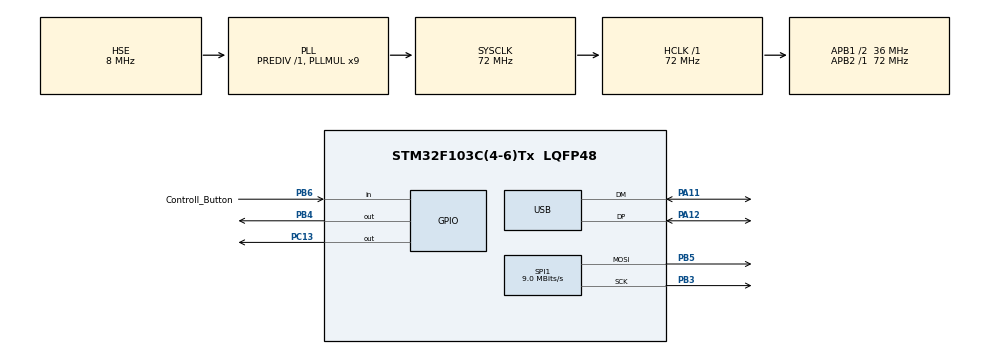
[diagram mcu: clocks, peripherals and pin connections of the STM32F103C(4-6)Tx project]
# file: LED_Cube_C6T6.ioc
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Mcu.Family=STM32F1
Mcu.Name=STM32F103C(4-6)Tx
Mcu.Package=LQFP48
NVIC.PriorityGroup=NVIC_PRIORITYGROUP_4
NVIC.TIM1_UP_IRQn=true\:0\:0\:false\:false\:true\:false\:true\:true
NVIC.TIM2_IRQn=true\:0\:0\:false\:false\:true\:true\:true\:true
NVIC.TimeBase=TIM1_UP_IRQn
NVIC.TimeBaseIP=TIM1
NVIC.USB_LP_CAN1_RX0_IRQn=true\:0\:0\:false\:false\:true\:false\:true\:true
PA11.Mode=Device
PA11.Signal=USB_DM
PA12.Mode=Device
PA12.Signal=USB_DP
PA13.Mode=Serial_Wire
PA13.Signal=SYS_JTMS-SWDIO
PA14.Mode=Serial_Wire
PA14.Signal=SYS_JTCK-SWCLK
PB3.Mode=TX_Only_Simplex_Unidirect_Master
PB3.Signal=SPI1_SCK
PB4.Signal=GPIO_Output
PB5.Mode=TX_Only_Simplex_Unidirect_Master
PB5.Signal=SPI1_MOSI
PB6.GPIO_Label=Controll_Button
PB6.GPIO_PuPd=GPIO_PULLDOWN
PB6.Signal=GPIO_Input
PC13-TAMPER-RTC.Signal=GPIO_Output
PD0-OSC_IN.Mode=HSE-External-Oscillator
PD0-OSC_IN.Signal=RCC_OSC_IN
PD1-OSC_OUT.Mode=HSE-External-Oscillator
PD1-OSC_OUT.Signal=RCC_OSC_OUT
ProjectManager.HeapSize=0x200
ProjectManager.StackSize=0x400
ProjectManager.TargetToolchain=STM32CubeIDE
RCC.AHBFreq_Value=72000000
RCC.APB1CLKDivider=RCC_HCLK_DIV2
RCC.APB1Freq_Value=36000000
RCC.APB1TimFreq_Value=72000000
RCC.APB2Freq_Value=72000000
RCC.APB2TimFreq_Value=72000000
RCC.HCLKFreq_Value=72000000
RCC.PLLMUL=RCC_PLL_MUL9
RCC.PLLSourceVirtual=RCC_PLLSOURCE_HSE
RCC.SYSCLKFreq_VALUE=72000000
RCC.SYSCLKSource=RCC_SYSCLKSOURCE_PLLCLK
RCC.USBFreq_Value=48000000
RCC.USBPrescaler=RCC_USBCLKSOURCE_PLL_DIV1_5
SPI1.BaudRatePrescaler=SPI_BAUDRATEPRESCALER_8
SPI1.CalculateBaudRate=9.0 MBits/s
SPI1.Direction=SPI_DIRECTION_2LINES
SPI1.FirstBit=SPI_FIRSTBIT_LSB
SPI1.Mode=SPI_MODE_MASTER
SPI1.VirtualType=VM_MASTER
TIM2.Period=1999
TIM2.Prescaler=72-1
TIM3.Prescaler=72-1
USB_DEVICE.APP_RX_DATA_SIZE=130
USB_DEVICE.APP_TX_DATA_SIZE=130
USB_DEVICE.CLASS_NAME_FS=CDC
USB_DEVICE.MANUFACTURER_STRING=Cringe Technologies
USB_DEVICE.PRODUCT_STRING_CDC_FS=STM32 LedCube ComPort
USB_DEVICE.USBD_MAX_STR_DESC_SIZ=100
USB_DEVICE.VirtualMode=Cdc
USB_DEVICE.VirtualModeFS=Cdc_FS
VP_SYS_VS_tim1.Mode=TIM1
VP_TIM2_VS_ClockSourceINT.Mode=Internal
VP_TIM3_VS_ClockSourceINT.Mode=Internal
VP_USB_DEVICE_VS_USB_DEVICE_CDC_FS.Mode=CDC_FS
board=custom

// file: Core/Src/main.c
/* USER CODE BEGIN Header */
/**
  ******************************************************************************
  * @file           : main.c
  * @brief          : Main program body
  ******************************************************************************
  * @attention
  *
  * <h2><center>&copy; Copyright (c) 2022 STMicroelectronics.
  * All rights reserved.</center></h2>
  *
  * This software component is licensed by ST under BSD 3-Clause license,
  * the "License"; You may not use this file except in compliance with the
  * License. You may obtain a copy of the License at:
  *                        opensource.org/licenses/BSD-3-Clause
  *
  ******************************************************************************
  */
/* USER CODE END Header */
#include "main.h"
#include "usb_device.h"

/* USER CODE BEGIN PD */
#define PinHigh GPIO_PIN_SET
#define PinLow GPIO_PIN_RESET
#define USHRT_MAX 65535
/* USER CODE END PD */

/* USER CODE BEGIN PM */
#define SetPinState(channel, pin, state) (HAL_GPIO_WritePin(channel, pin, state))
//#define ClearCube() memset(cubeVexels, 0, sizeof(cubeVexels))
#define ClearCubeBytes() memset(cubeBufferBytes, 0, sizeof(cubeBufferBytes))
#define SetVoxel2(x, y) (cubeMatrix[7 - y] |= 0x01 << x)
#define TurnBitOn(number, n) (*number |= 1 << *n)
#define TurnBitOff(number, n) (number &= ~(1 << n))
#define SetFalseBits(number, n) (number &= n)
#define SetTrueBits(number, n) (number |= n)
#define StraightLine(pA, pB, xyz, t, l) (uint8_t)(pA.xyz + round((pB.xyz - pA.xyz) * ((float)t/(float)l)))
#define ApplyBufferToRender() memcpy(cubeBytes, cubeBufferBytes, sizeof(cubeBufferBytes));
#define FPS 10

#define DL2(a, b) Draw3DLine(a, b, 0)
#define DL3(a, b, c) Draw3DLine(a, b, c)
#define DL_SELECT(_1, _2, _3, macro, ...) macro
#define DrawLine(args...) DL_SELECT(args, DL3, DL2, 1)(args)

//#define WholeLayerRender
//#define HalfLayerRender
#define QuarterLayerRender

/* USER CODE END PM */

SPI_HandleTypeDef hspi1;

TIM_HandleTypeDef htim2;
TIM_HandleTypeDef htim3;

/* USER CODE BEGIN PV */
uint8_t cubeBytes[10][13];
uint8_t cubeBufferBytes[10][13];
uint8_t timerTicks;

Point3 corner1 = {0, 1, 9};
Point3 corner2 = {0, 9, 9};
Point3 corner3 = {9, 1, 9};
Point3 corner4 = {9, 9, 9};

Point3 corner5 = {0, 1, 0};
Point3 corner6 = {0, 9, 0};
Point3 corner7 = {9, 1, 0};
Point3 corner8 = {9, 9, 0};
uint32_t awaitValue = 1000;

/* USER CODE END PV */

void SystemClock_Config(void);
static void MX_GPIO_Init(void);
static void MX_SPI1_Init(void);
static void MX_TIM2_Init(void);
static void MX_TIM3_Init(void);
/* USER CODE BEGIN PFP */

void delay_us(uint32_t us)
{
    __HAL_TIM_SET_COUNTER(&htim3, 0);
    while (__HAL_TIM_GET_COUNTER(&htim3) < us);
}

void SetVoxelByXYZPointers(const uint8_t* x, const uint8_t* y, const uint8_t* z)
{
    int k = *x * 100 + *y * 10 + *z;
    int n = ((k + 2 - *x * 100) % 8);
    TurnBitOn(&cubeBufferBytes[*x][((k + 2 - *x * 100) / 8)], &n);
}

void SetVoxelByXYZ(const uint8_t x, const uint8_t y, const uint8_t z)
{
    if (x > 9 || x < 0 || y > 9 || y < 0 || z > 9 || z < 0)
        return;
    int k = x * 100 + y * 10 + z;
    int n = ((k + 2 - x * 100) % 8);
    TurnBitOn(&cubeBufferBytes[x][((k + 2 - x * 100) / 8)], &n);
}

void SetVoxelByPoint3(const Point3 p)
{
    SetVoxelByXYZ(p.x, p.y, p.z);
}

void Draw3DLine(const Point3 a, const Point3 b, const uint8_t excludeEndPoints)
{
    uint8_t length = 0;
    const uint8_t l1 = (uint8_t)abs(a.x - b.x);
    const uint8_t l2 = (uint8_t)abs(a.y - b.y);
    const uint8_t l3 = (uint8_t)abs(a.z - b.z);
    length = l1;
    if (l2 > l1)
        length = l2;
    if (l3 > l2)
        length = l3;
    if (excludeEndPoints == 0)
    {
        SetVoxelByPoint3(a);
        SetVoxelByPoint3(b);
    }
    for (uint8_t i = 1; i < length; i++)
    {
        const uint8_t x = StraightLine(a, b, x, i, length); // (uint8_t)(a->x + (b->x - a->x) * i / length);
        const uint8_t y = StraightLine(a, b, y, i, length);
        const uint8_t z = StraightLine(a, b, z, i, length);
        SetVoxelByXYZ(x, y, z);
    }
}

void drawCirclePointsByXYZP(int x, int y, Point2d center, uint8_t layerIndex, figure2dOrientation co)
{
    switch (co)
    {
    case figure2dOrientationXY:
        {
            SetVoxelByXYZ(x + center.x, y + center.y, layerIndex);
            SetVoxelByXYZ(y + center.x, x + center.y, layerIndex);
            SetVoxelByXYZ(y + center.x, -x + center.y, layerIndex);
            SetVoxelByXYZ(x + center.x, -y + center.y, layerIndex);
            SetVoxelByXYZ(-x + center.x, -y + center.y, layerIndex);
            SetVoxelByXYZ(-y + center.x, -x + center.y, layerIndex);
            SetVoxelByXYZ(-y + center.x, x + center.y, layerIndex);
            SetVoxelByXYZ(-x + center.x, y + center.y, layerIndex);
            break;
        }
    case figure2dOrientationYZ:
        {
            SetVoxelByXYZ(layerIndex, x + center.x, y + center.y);
            SetVoxelByXYZ(layerIndex, y + center.x, x + center.y);
            SetVoxelByXYZ(layerIndex, y + center.x, -x + center.y);
            SetVoxelByXYZ(layerIndex, x + center.x, -y + center.y);
            SetVoxelByXYZ(layerIndex, -x + center.x, -y + center.y);
            SetVoxelByXYZ(layerIndex, -y + center.x, -x + center.y);
            SetVoxelByXYZ(layerIndex, -y + center.x, x + center.y);
            SetVoxelByXYZ(layerIndex, -x + center.x, y + center.y);
            break;
        }
    case figure2dOrientationXZ:
        {
            SetVoxelByXYZ(x + center.x, layerIndex, y + center.y);
            SetVoxelByXYZ(y + center.x, layerIndex, x + center.y);
            SetVoxelByXYZ(y + center.x, layerIndex, -x + center.y);
            SetVoxelByXYZ(x + center.x, layerIndex, -y + center.y);
            SetVoxelByXYZ(-x + center.x, layerIndex, -y + center.y);
            SetVoxelByXYZ(-y + center.x, layerIndex, -x + center.y);
            SetVoxelByXYZ(-y + center.x, layerIndex, x + center.y);
            SetVoxelByXYZ(-x + center.x, layerIndex, y + center.y);
            break;
        }
    default:
        break;
    }
}

/*
void DrawCircle(Point2d center, double raduis, uint8_t layerIndex, figure2dOrientation co)
{
	int x = 0;
	int y = (int)(raduis);
	double d = 1 - raduis;
	int p = 3;
	double q = -2 * raduis + 5;
	drawCirclePointsByXYZP(x, y, center, layerIndex, co);
	while (y > x)
	{
		if (d < 0)
		{
			d += p;
			p += 2;
			q += 2;
			x += 1;
		}
		else
		{
			d += q;
			p += 2;
			q += 4;
			x += 1;
			y -= 1;
		}
		drawCirclePointsByXYZP(x, y, center, layerIndex, co);
	}
}
*/

void DrawSquare(const Point3 topLeft, const uint8_t size, const figure2dOrientation o, const uint8_t filled)
{
    Point3 c1;
    Point3 c2;
    Point3 c3;
    Point3 c4;
    if (!filled)
    {
        switch (o)
        {
        case figure2dOrientationXY:
            {
                for (uint8_t i = 0; i < 2; i++)
                {
                    c1 = (Point3){topLeft.x, topLeft.y, topLeft.z + (i * size)};
                    c2 = (Point3){topLeft.x + size, topLeft.y, topLeft.z + (i * size)};
                    c3 = (Point3){topLeft.x, topLeft.y + size, topLeft.z + (i * size)};
                    c4 = (Point3){topLeft.x + size, topLeft.y + size, topLeft.z + (i * size)};
                    DrawLine(c1, c2);
                    DrawLine(c2, c4);
                    DrawLine(c4, c3);
                    DrawLine(c1, c3);
                }
                break;
            }
        case figure2dOrientationYZ:
            {
                for (uint8_t i = 0; i < 2; i++)
                {
                    c1 = (Point3){topLeft.x + (i * size), topLeft.y, topLeft.z};
                    c2 = (Point3){topLeft.x + (i * size), topLeft.y + size, topLeft.z};
                    c3 = (Point3){topLeft.x + (i * size), topLeft.y, topLeft.z + size};
                    c4 = (Point3){topLeft.x + (i * size), topLeft.y + size, topLeft.z + size};
                    //Draw3DLine(c1, c2, 0);
                    DrawLine(c1, c2);
                    //Draw3DLine(c2, c4, 0);
                    DrawLine(c2, c4);
                    //Draw3DLine(c4, c3, 0);
                    DrawLine(c4, c3);
                    //Draw3DLine(c1, c3, 0);
                    DrawLine(c1, c3);
                }
                break;
            }
        case figure2dOrientationXZ:
            {
                for (uint8_t i = 0; i < 2; i++)
                {
                    c1 = (Point3){topLeft.x, topLeft.y + (i * size), topLeft.z};
                    c2 = (Point3){topLeft.x + size, topLeft.y + (i * size), topLeft.z};
                    c3 = (Point3){topLeft.x, topLeft.y + (i * size), topLeft.z + size};
                    c4 = (Point3){topLeft.x + size, topLeft.y + (i * size), topLeft.z + size};
                    //Draw3DLine(c1, c2, 0);
                    DrawLine(c1, c2);
                    //Draw3DLine(c2, c4, 0);
                    DrawLine(c2, c4);
                    //Draw3DLine(c4, c3, 0);
                    DrawLine(c4, c3);
                    //Draw3DLine(c1, c3, 0);
                    DrawLine(c1, c3);
                }
                break;
            }
        default:
            break;
        }
        return;
    }
    // === Закрашенный квадрат (обе грани) ===
    for (uint8_t i = 0; i < 2; i++)
    {
        switch (o)
        {
        case figure2dOrientationXY:
            {
                uint8_t z = topLeft.z + i * size;
                for (uint8_t x = topLeft.x; x <= topLeft.x + size; x++)
                    for (uint8_t y = topLeft.y; y <= topLeft.y + size; y++)
                        SetVoxelByXYZ(x, y, z);
            }
            break;
        case figure2dOrientationYZ:
            {
                uint8_t x = topLeft.x + i * size;
                for (uint8_t y = topLeft.y; y <= topLeft.y + size; y++)
                    for (uint8_t z = topLeft.z; z <= topLeft.z + size; z++)
                        SetVoxelByXYZ(x, y, z);
            }
            break;
        case figure2dOrientationXZ:
            {
                uint8_t y = topLeft.y + i * size;
                for (uint8_t x = topLeft.x; x <= topLeft.x + size; x++)
                    for (uint8_t z = topLeft.z; z <= topLeft.z + size; z++)
                        SetVoxelByXYZ(x, y, z);
            }
            break;
        default: break;
        }
    }
}

void DrawCube(const Point3 leftTopZ, const uint8_t size, const uint8_t filled)
{
    DrawSquare(leftTopZ, size, figure2dOrientationXY, filled);
    DrawSquare(leftTopZ, size, figure2dOrientationYZ, filled);
    DrawSquare(leftTopZ, size, figure2dOrientationXZ, filled);
}

void Ping_Latch()
{
    HAL_GPIO_WritePin(GPIOB, GPIO_PIN_4, PinHigh);
    HAL_GPIO_WritePin(GPIOB, GPIO_PIN_4, PinLow);
}

#if defined(WholeLayerRender)

void Render(const byte i, const uint8_t dummy)
{
    uint8_t buffer[14] = {0};
    memcpy(buffer, cubeBytes[i], 12);
    buffer[12] = cubeBytes[i][12] & 0b00111111;
    buffer[13] = 1 << (7 - i);
    switch (i)
    {
    case 8:
        {
            buffer[13] = 0;
            buffer[12] |= 0b10000000;
            break;
        }
    case 9:
        {
            buffer[13] = 0;
            buffer[12] |= 0b01000000;
            break;
        }
    default:
        {
            break;
        }
    }
    HAL_SPI_Transmit(&hspi1, buffer, 14, 100);
    Ping_Latch();
}
#elif defined(HalfLayerRender)

void Render(const uint8_t layer, const uint8_t layerPartIndex)
{
    uint8_t start;
    const uint8_t count = 6;
    switch (layerPartIndex)
    {
    case 0: start = 0;
        break;
    case 1: start = 6;
        break;
    default: return;
    }

    uint8_t buffer[14] = {0}; // 14 байт
    //todo
    HAL_SPI_Transmit(&hspi1, buffer, 14, 100);
    Ping_Latch();
    //todo
    uint8_t isEmpty = 0;
    for (uint8_t i = start; i < start + count; i++)
    {
        if (i < 11)
        {
            isEmpty |= cubeBytes[layer][i];
            continue;
        }
        isEmpty |= (uint8_t)(cubeBytes[layer][i] & 0b00111111);
    }
    if (isEmpty == 0)
    {
        HAL_SPI_Transmit(&hspi1, buffer, 14, 100);
        Ping_Latch();
        return;
    }

    memcpy(buffer + start, cubeBytes[layer] + start, count);

    buffer[12] = cubeBytes[layer][12] & 0b00111111;
    buffer[13] = 1 << (7 - layer);
    switch (layer)
    {
    case 8:
        {
            buffer[13] = 0;
            buffer[12] |= 0b10000000;
            break;
        }
    case 9:
        {
            buffer[13] = 0;
            buffer[12] |= 0b01000000;
            break;
        }
    default:
        {
            break;
        }
    }
    HAL_SPI_Transmit(&hspi1, buffer, 14, 100);
    Ping_Latch();
}
#elif defined(QuarterLayerRender)
void Render(const uint8_t layer, const uint8_t layerPartIndex)
{
    uint8_t start;
    const uint8_t count = 3;
    switch (layerPartIndex)
    {
    case 0: start = 0;
        break;
    case 1: start = 3;
        break;
    case 2: start = 6;
        break;
    case 3: start = 9;
        break;
    default: return;
    }

    uint8_t buffer[14] = {0}; // 14 байт
    //todo
    HAL_SPI_Transmit(&hspi1, buffer, 14, 100);
    Ping_Latch();
    HAL_SPI_Transmit(&hspi1, buffer, 14, 100);
    Ping_Latch();
    //todo
    uint8_t isEmpty = 0;
    for (uint8_t i = start; i < start + count; i++)
    {
        if (i < 11)
        {
            isEmpty |= cubeBytes[layer][i];
            continue;
        }
        isEmpty |= (uint8_t)(cubeBytes[layer][i] & 0b00111111);
    }
    if (isEmpty == 0)
    {
        HAL_SPI_Transmit(&hspi1, buffer, 14, 100);
        Ping_Latch();
        return;
    }

    memcpy(buffer + start, cubeBytes[layer] + start, count);

    if (layerPartIndex == 3)
        buffer[12] = cubeBytes[layer][12] & 0b00111111;

    buffer[13] = 1 << (7 - layer);
    switch (layer)
    {
    case 8:
        {
            buffer[13] = 0;
            buffer[12] |= 0b10000000;
            break;
        }
    case 9:
        {
            buffer[13] = 0;
            buffer[12] |= 0b01000000;
            break;
        }
    default:
        {
            buffer[12] = layerPartIndex == 3 ? cubeBytes[layer][12] & 0b00111111 : 0;
            break;
        }
    }
    HAL_SPI_Transmit(&hspi1, buffer, 14, 100);
    Ping_Latch();
}
#endif
void Redraw()
{
    uint8_t step = 1;
    uint8_t cubeSize = 9;
    uint8_t cubeSize2 = 9;
    int8_t cubeStep = -2;
    uint8_t i = 0;
    const Point3 leftTopZ2 = (Point3){8, 0, 0};
    for (;;)
    {
        ClearCubeBytes();
        const Point3 leftTopZ = (Point3){i, i, i};
        DrawCube(leftTopZ, cubeSize, 0);

        if (i + step == 5)
        {
            cubeStep = 2;
            step = -1;
        }
        if (i == 0)
        {
            cubeStep = -2;
            step = 1;
        }
        i += step;
        cubeSize += cubeStep;

        //DrawCube((Point3){9, 0, 0}, 9, 0);

        // DrawCube((Point3){-5, 0, 0}, 9, 0);
        // const uint8_t y11 = 7;
        // DrawCube((Point3){1, 0, 0}, 9, 0);
        // SetVoxelByXYZ(0, y11, 0);
        // SetVoxelByXYZ(0, y11, 1);
        // SetVoxelByXYZ(0, y11, 2);
        // SetVoxelByXYZ(0, y11, 3);
        // SetVoxelByXYZ(0, y11, 4);
        // SetVoxelByXYZ(0, y11, 5);
        // SetVoxelByXYZ(0, y11, 6);
        // SetVoxelByXYZ(0, y11, 7);
        // SetVoxelByXYZ(0, y11, 8);
        // SetVoxelByXYZ(0, y11, 9);
        // SetVoxelByXYZ(0, y11, 0);
        // SetVoxelByXYZ(0, y11, 9);
        // SetVoxelByXYZ(1, 1, 1);
        ApplyBufferToRender();
        HAL_Delay(awaitValue);
    }
}

uint8_t Randon_Number(const uint8_t lower, const uint8_t upper)
{
    return (uint8_t)(rand() % (uint8_t)(upper - lower + 1) + lower);
}

/* USER CODE END PFP */

int main(void)
{

    /* MCU Configuration--------------------------------------------------------*/

    /* Reset of all peripherals, Initializes the Flash interface and the Systick. */
    HAL_Init();

    /* USER CODE BEGIN Init */
    srand(time(NULL));

    /* USER CODE END Init */

    /* Configure the system clock */
    SystemClock_Config();

    /* Initialize all configured peripherals */
    MX_GPIO_Init();
    MX_SPI1_Init();
    MX_TIM2_Init();
    MX_TIM3_Init();
    MX_USB_DEVICE_Init();
    /* USER CODE BEGIN 2 */
    timerTicks = 0;

    HAL_TIM_Base_Start(&htim3);
    HAL_TIM_Base_Start_IT(&htim2);
    // while (1) {
    //     uint32_t cnt1 = TIM3->CNT;
    //     HAL_Delay(1);
    //     uint32_t cnt2 = TIM3->CNT;
    //     if (cnt2 > cnt1) {
    //         // Таймер работает: мигаем длинно-коротко
    //         HAL_GPIO_TogglePin(GPIOC, GPIO_PIN_13); // быстро
    //         HAL_Delay(100);
    //         HAL_GPIO_TogglePin(GPIOC, GPIO_PIN_13);
    //         HAL_Delay(100);
    //     } else {
    //         // Таймер не работает: мигаем с длинной паузой (аварийный сигнал)
    //         HAL_GPIO_TogglePin(GPIOC, GPIO_PIN_13);
    //         HAL_Delay(500);
    //     }
    // }
    //HAL_TIM_Base_Start_IT(&htim3);
    /* USER CODE END 2 */

    /* Infinite loop */
    /* USER CODE BEGIN WHILE */
    while (1)
    {
        Redraw();
        /* USER CODE END WHILE */

    }
}

void SystemClock_Config(void)
{
    RCC_OscInitTypeDef RCC_OscInitStruct = {0};
    RCC_ClkInitTypeDef RCC_ClkInitStruct = {0};
    RCC_PeriphCLKInitTypeDef PeriphClkInit = {0};

    /** Initializes the RCC Oscillators according to the specified parameters
    * in the RCC_OscInitTypeDef structure.
    */
    RCC_OscInitStruct.OscillatorType = RCC_OSCILLATORTYPE_HSE;
    RCC_OscInitStruct.HSEState = RCC_HSE_ON;
    RCC_OscInitStruct.HSEPredivValue = RCC_HSE_PREDIV_DIV1;
    RCC_OscInitStruct.HSIState = RCC_HSI_ON;
    RCC_OscInitStruct.PLL.PLLState = RCC_PLL_ON;
    RCC_OscInitStruct.PLL.PLLSource = RCC_PLLSOURCE_HSE;
    RCC_OscInitStruct.PLL.PLLMUL = RCC_PLL_MUL9;
    if (HAL_RCC_OscConfig(&RCC_OscInitStruct) != HAL_OK)
    {
        Error_Handler();
    }

    /** Initializes the CPU, AHB and APB buses clocks
    */
    RCC_ClkInitStruct.ClockType = RCC_CLOCKTYPE_HCLK | RCC_CLOCKTYPE_SYSCLK
        | RCC_CLOCKTYPE_PCLK1 | RCC_CLOCKTYPE_PCLK2;
    RCC_ClkInitStruct.SYSCLKSource = RCC_SYSCLKSOURCE_PLLCLK;
    RCC_ClkInitStruct.AHBCLKDivider = RCC_SYSCLK_DIV1;
    RCC_ClkInitStruct.APB1CLKDivider = RCC_HCLK_DIV2;
    RCC_ClkInitStruct.APB2CLKDivider = RCC_HCLK_DIV1;

    if (HAL_RCC_ClockConfig(&RCC_ClkInitStruct, FLASH_LATENCY_2) != HAL_OK)
    {
        Error_Handler();
    }
    PeriphClkInit.PeriphClockSelection = RCC_PERIPHCLK_USB;
    PeriphClkInit.UsbClockSelection = RCC_USBCLKSOURCE_PLL_DIV1_5;
    if (HAL_RCCEx_PeriphCLKConfig(&PeriphClkInit) != HAL_OK)
    {
        Error_Handler();
    }
}

static void MX_SPI1_Init(void)
{

    /* SPI1 parameter configuration*/
    hspi1.Instance = SPI1;
    hspi1.Init.Mode = SPI_MODE_MASTER;
    hspi1.Init.Direction = SPI_DIRECTION_2LINES;
    hspi1.Init.DataSize = SPI_DATASIZE_8BIT;
    hspi1.Init.CLKPolarity = SPI_POLARITY_LOW;
    hspi1.Init.CLKPhase = SPI_PHASE_1EDGE;
    hspi1.Init.NSS = SPI_NSS_SOFT;
    hspi1.Init.BaudRatePrescaler = SPI_BAUDRATEPRESCALER_8;
    hspi1.Init.FirstBit = SPI_FIRSTBIT_LSB;
    hspi1.Init.TIMode = SPI_TIMODE_DISABLE;
    hspi1.Init.CRCCalculation = SPI_CRCCALCULATION_DISABLE;
    hspi1.Init.CRCPolynomial = 10;
    if (HAL_SPI_Init(&hspi1) != HAL_OK)
    {
        Error_Handler();
    }
}

static void MX_TIM2_Init(void)
{

    TIM_ClockConfigTypeDef sClockSourceConfig = {0};
    TIM_MasterConfigTypeDef sMasterConfig = {0};

    htim2.Instance = TIM2;
    htim2.Init.Prescaler = 72 - 1;
    htim2.Init.CounterMode = TIM_COUNTERMODE_UP;
#if defined(WholeLayerRender)
    htim2.Init.Period = 2000 - 1;
#elif defined(HalfLayerRender)
    htim2.Init.Period = 1000 - 1;
#elif defined(QuarterLayerRender)
    htim2.Init.Period = 550 - 1;
#endif
    htim2.Init.ClockDivision = TIM_CLOCKDIVISION_DIV1;
    htim2.Init.AutoReloadPreload = TIM_AUTORELOAD_PRELOAD_DISABLE;
    if (HAL_TIM_Base_Init(&htim2) != HAL_OK)
    {
        Error_Handler();
    }
    sClockSourceConfig.ClockSource = TIM_CLOCKSOURCE_INTERNAL;
    if (HAL_TIM_ConfigClockSource(&htim2, &sClockSourceConfig) != HAL_OK)
    {
        Error_Handler();
    }
    sMasterConfig.MasterOutputTrigger = TIM_TRGO_RESET;
    sMasterConfig.MasterSlaveMode = TIM_MASTERSLAVEMODE_DISABLE;
    if (HAL_TIMEx_MasterConfigSynchronization(&htim2, &sMasterConfig) != HAL_OK)
    {
        Error_Handler();
    }
}

static void MX_TIM3_Init(void)
{
    /* USER CODE BEGIN TIM3_Init 0 */
    __HAL_RCC_TIM3_CLK_ENABLE();
    /* USER CODE END TIM3_Init 0 */

    TIM_ClockConfigTypeDef sClockSourceConfig = {0};
    TIM_MasterConfigTypeDef sMasterConfig = {0};

    htim3.Instance = TIM3;
    htim3.Init.Prescaler = 72 - 1;
    htim3.Init.CounterMode = TIM_COUNTERMODE_UP;
    htim3.Init.Period = 65535;
    htim3.Init.ClockDivision = TIM_CLOCKDIVISION_DIV1;
    htim3.Init.AutoReloadPreload = TIM_AUTORELOAD_PRELOAD_DISABLE;
    if (HAL_TIM_Base_Init(&htim3) != HAL_OK)
    {
        Error_Handler();
    }
    sClockSourceConfig.ClockSource = TIM_CLOCKSOURCE_INTERNAL;
    if (HAL_TIM_ConfigClockSource(&htim3, &sClockSourceConfig) != HAL_OK)
    {
        Error_Handler();
    }
    sMasterConfig.MasterOutputTrigger = TIM_TRGO_RESET;
    sMasterConfig.MasterSlaveMode = TIM_MASTERSLAVEMODE_DISABLE;
    if (HAL_TIMEx_MasterConfigSynchronization(&htim3, &sMasterConfig) != HAL_OK)
    {
        Error_Handler();
    }
}

static void MX_GPIO_Init(void)
{
    GPIO_InitTypeDef GPIO_InitStruct = {0};

    /* GPIO Ports Clock Enable */
    __HAL_RCC_GPIOC_CLK_ENABLE();
    __HAL_RCC_GPIOD_CLK_ENABLE();
    __HAL_RCC_GPIOA_CLK_ENABLE();
    __HAL_RCC_GPIOB_CLK_ENABLE();

    /*Configure GPIO pin Output Level */
    HAL_GPIO_WritePin(GPIOC, GPIO_PIN_13, GPIO_PIN_RESET);

    /*Configure GPIO pin Output Level */
    HAL_GPIO_WritePin(GPIOB, GPIO_PIN_4, GPIO_PIN_RESET);

    /*Configure GPIO pin : PC13 */
    GPIO_InitStruct.Pin = GPIO_PIN_13;
    GPIO_InitStruct.Mode = GPIO_MODE_OUTPUT_PP;
    GPIO_InitStruct.Pull = GPIO_NOPULL;
    GPIO_InitStruct.Speed = GPIO_SPEED_FREQ_LOW;
    HAL_GPIO_Init(GPIOC, &GPIO_InitStruct);

    /*Configure GPIO pin : PB4 */
    GPIO_InitStruct.Pin = GPIO_PIN_4;
    GPIO_InitStruct.Mode = GPIO_MODE_OUTPUT_PP;
    GPIO_InitStruct.Pull = GPIO_NOPULL;
    GPIO_InitStruct.Speed = GPIO_SPEED_FREQ_LOW;
    HAL_GPIO_Init(GPIOB, &GPIO_InitStruct);

    /*Configure GPIO pin : Controll_Button_Pin */
    GPIO_InitStruct.Pin = Controll_Button_Pin;
    GPIO_InitStruct.Mode = GPIO_MODE_INPUT;
    GPIO_InitStruct.Pull = GPIO_PULLDOWN;
    HAL_GPIO_Init(Controll_Button_GPIO_Port, &GPIO_InitStruct);

}

#if defined(WholeLayerRender)
static uint8_t timerTicksToReset = 10;
static uint8_t timerTicksDivider = 1;
#elif defined(HalfLayerRender)
static uint8_t timerTicksToReset = 20;
static uint8_t timerTicksDivider = 2;
#elif defined(QuarterLayerRender)
static uint8_t timerTicksToReset = 40;
static uint8_t timerTicksDivider = 4;
#endif
static uint8_t coldStarted = 0;
static uint8_t renderPartIndex = 0;

void HAL_TIM_PeriodElapsedCallback(TIM_HandleTypeDef* htim)
{
    /* USER CODE BEGIN Callback 0 */
    if (htim->Instance == TIM2)
    {
        if (coldStarted == 0 && timerTicks++ < timerTicksToReset << 1) return;
        if (timerTicks >= timerTicksToReset)
            timerTicks = 0;
        Render(timerTicks++ / timerTicksDivider, renderPartIndex++);
        if (renderPartIndex == timerTicksDivider)
            renderPartIndex = 0;
        coldStarted = 1;
    }
    /* USER CODE END Callback 0 */
    if (htim->Instance == TIM1)
    {
        HAL_IncTick();
    }
    /* USER CODE BEGIN Callback 1 */
    if (htim->Instance == TIM3)
    {
    }
    /* USER CODE END Callback 1 */
}

void Error_Handler(void)
{
    __disable_irq();
    while (1)
    {
    }
}
